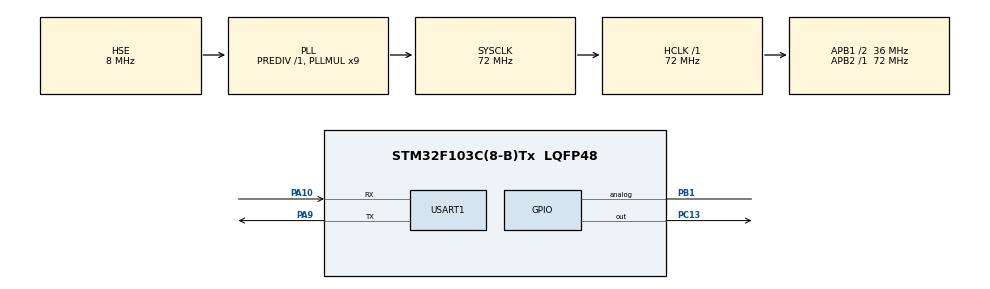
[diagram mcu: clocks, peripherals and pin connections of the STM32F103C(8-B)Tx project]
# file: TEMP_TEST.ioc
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Mcu.Family=STM32F1
Mcu.Name=STM32F103C(8-B)Tx
Mcu.Package=LQFP48
NVIC.PriorityGroup=NVIC_PRIORITYGROUP_4
PA10.Mode=Asynchronous
PA10.Signal=USART1_RX
PA13.Mode=Serial_Wire
PA13.Signal=SYS_JTMS-SWDIO
PA14.Mode=Serial_Wire
PA14.Signal=SYS_JTCK-SWCLK
PA9.Mode=Asynchronous
PA9.Signal=USART1_TX
PB1.Signal=GPIO_Analog
PC13-TAMPER-RTC.Signal=GPIO_Output
PD0-OSC_IN.Mode=HSE-External-Oscillator
PD0-OSC_IN.Signal=RCC_OSC_IN
PD1-OSC_OUT.Mode=HSE-External-Oscillator
PD1-OSC_OUT.Signal=RCC_OSC_OUT
ProjectManager.HeapSize=0x200
ProjectManager.StackSize=0x400
ProjectManager.TargetToolchain=STM32CubeIDE
RCC.AHBFreq_Value=72000000
RCC.APB1CLKDivider=RCC_HCLK_DIV2
RCC.APB1Freq_Value=36000000
RCC.APB1TimFreq_Value=72000000
RCC.APB2Freq_Value=72000000
RCC.APB2TimFreq_Value=72000000
RCC.HCLKFreq_Value=72000000
RCC.PLLMUL=RCC_PLL_MUL9
RCC.PLLSourceVirtual=RCC_PLLSOURCE_HSE
RCC.SYSCLKFreq_VALUE=72000000
RCC.SYSCLKSource=RCC_SYSCLKSOURCE_PLLCLK
RCC.USBFreq_Value=72000000
TIM2.Period=1000
TIM2.Prescaler=72-1
USART1.VirtualMode=VM_ASYNC
VP_TIM2_VS_ClockSourceINT.Mode=Internal
board=custom

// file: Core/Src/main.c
/* USER CODE BEGIN Header */
/**
 ******************************************************************************
 * @file           : main.c
 * @brief          : Main program body
 ******************************************************************************
 * @attention
 *
 * Copyright (c) 2022 STMicroelectronics.
 * All rights reserved.
 *
 * This software is licensed under terms that can be found in the LICENSE file
 * in the root directory of this software component.
 * If no LICENSE file comes with this software, it is provided AS-IS.
 *
 ******************************************************************************
 */
/* USER CODE END Header */
#include "main.h"

/* USER CODE BEGIN Includes */
#include "string.h"
#include "18B20.h"
/* USER CODE END Includes */

/* USER CODE BEGIN PTD */

extern uint8_t count;	// variable used in each function
extern uint8_t num; // number of one wire device on the bus (single GPIO pin)

/* USER CODE END PTD */

TIM_HandleTypeDef htim2;

UART_HandleTypeDef huart1;

/* USER CODE BEGIN PV */

//uint8_t device_number=0;
//int last_zero;
/* USER CODE END PV */

void SystemClock_Config(void);
static void MX_GPIO_Init(void);
static void MX_USART1_UART_Init(void);
static void MX_TIM2_Init(void);

int main(void) {

	/* MCU Configuration--------------------------------------------------------*/

	/* Reset of all peripherals, Initializes the Flash interface and the Systick. */
	HAL_Init();

	/* Configure the system clock */
	SystemClock_Config();

	/* Initialize all configured peripherals */
	MX_GPIO_Init();
	MX_USART1_UART_Init();
	MX_TIM2_Init();

	/* Infinite loop */
	/* USER CODE BEGIN WHILE */

	if (Temp_init() != 1) {// Initalizing the Temp sensor
		printf("Temp Sensor Initialization failed\n");
	}

	Find_Temp_devices();	// Find the number of Devices connected to the bus
	printf("Number of devices on bus = %d\n", count);
	num = count;		// count is variable

	for (int i = 1; i < num + 1; i++) {
		Set_Threshold(UPPER_TH, LOWER_TH, i);		// Set the upper and lower threshold for all the devices for alarm case
	}

	while (1) {

		for (int i = 1; i < num + 1; i++) {
			Read_Temp(i);		// Read temperature from each device with their respective index
			printf("\n\n");
		}

		HAL_Delay(1000);

		Check_Alarm();
		printf("Number of devices with alarm triggered= %d\n", count);
		printf("\n\n");
		/* USER CODE END WHILE */

	}
}

void SystemClock_Config(void) {
	RCC_OscInitTypeDef RCC_OscInitStruct = { 0 };
	RCC_ClkInitTypeDef RCC_ClkInitStruct = { 0 };

	/** Initializes the RCC Oscillators according to the specified parameters
	 * in the RCC_OscInitTypeDef structure.
	 */
	RCC_OscInitStruct.OscillatorType = RCC_OSCILLATORTYPE_HSE;
	RCC_OscInitStruct.HSEState = RCC_HSE_ON;
	RCC_OscInitStruct.HSEPredivValue = RCC_HSE_PREDIV_DIV1;
	RCC_OscInitStruct.HSIState = RCC_HSI_ON;
	RCC_OscInitStruct.PLL.PLLState = RCC_PLL_ON;
	RCC_OscInitStruct.PLL.PLLSource = RCC_PLLSOURCE_HSE;
	RCC_OscInitStruct.PLL.PLLMUL = RCC_PLL_MUL9;
	if (HAL_RCC_OscConfig(&RCC_OscInitStruct) != HAL_OK) {
		Error_Handler();
	}

	/** Initializes the CPU, AHB and APB buses clocks
	 */
	RCC_ClkInitStruct.ClockType = RCC_CLOCKTYPE_HCLK | RCC_CLOCKTYPE_SYSCLK
			| RCC_CLOCKTYPE_PCLK1 | RCC_CLOCKTYPE_PCLK2;
	RCC_ClkInitStruct.SYSCLKSource = RCC_SYSCLKSOURCE_PLLCLK;
	RCC_ClkInitStruct.AHBCLKDivider = RCC_SYSCLK_DIV1;
	RCC_ClkInitStruct.APB1CLKDivider = RCC_HCLK_DIV2;
	RCC_ClkInitStruct.APB2CLKDivider = RCC_HCLK_DIV1;

	if (HAL_RCC_ClockConfig(&RCC_ClkInitStruct, FLASH_LATENCY_2) != HAL_OK) {
		Error_Handler();
	}
}

static void MX_TIM2_Init(void) {

	TIM_ClockConfigTypeDef sClockSourceConfig = { 0 };
	TIM_MasterConfigTypeDef sMasterConfig = { 0 };

	htim2.Instance = TIM2;
	htim2.Init.Prescaler = 72 - 1;
	htim2.Init.CounterMode = TIM_COUNTERMODE_UP;
	htim2.Init.Period = 1000;
	htim2.Init.ClockDivision = TIM_CLOCKDIVISION_DIV1;
	htim2.Init.AutoReloadPreload = TIM_AUTORELOAD_PRELOAD_DISABLE;
	if (HAL_TIM_Base_Init(&htim2) != HAL_OK) {
		Error_Handler();
	}
	sClockSourceConfig.ClockSource = TIM_CLOCKSOURCE_INTERNAL;
	if (HAL_TIM_ConfigClockSource(&htim2, &sClockSourceConfig) != HAL_OK) {
		Error_Handler();
	}
	sMasterConfig.MasterOutputTrigger = TIM_TRGO_RESET;
	sMasterConfig.MasterSlaveMode = TIM_MASTERSLAVEMODE_DISABLE;
	if (HAL_TIMEx_MasterConfigSynchronization(&htim2, &sMasterConfig)
			!= HAL_OK) {
		Error_Handler();
	}

}

static void MX_USART1_UART_Init(void) {

	huart1.Instance = USART1;
	huart1.Init.BaudRate = 115200;
	huart1.Init.WordLength = UART_WORDLENGTH_8B;
	huart1.Init.StopBits = UART_STOPBITS_1;
	huart1.Init.Parity = UART_PARITY_NONE;
	huart1.Init.Mode = UART_MODE_TX_RX;
	huart1.Init.HwFlowCtl = UART_HWCONTROL_NONE;
	huart1.Init.OverSampling = UART_OVERSAMPLING_16;
	if (HAL_UART_Init(&huart1) != HAL_OK) {
		Error_Handler();
	}

}

static void MX_GPIO_Init(void) {
	GPIO_InitTypeDef GPIO_InitStruct = { 0 };

	/* GPIO Ports Clock Enable */
	__HAL_RCC_GPIOC_CLK_ENABLE();
	__HAL_RCC_GPIOD_CLK_ENABLE();
	__HAL_RCC_GPIOB_CLK_ENABLE();
	__HAL_RCC_GPIOA_CLK_ENABLE();

	/*Configure GPIO pin Output Level */
	HAL_GPIO_WritePin(GPIOC, GPIO_PIN_13, GPIO_PIN_RESET);

	/*Configure GPIO pin : PC13 */
	GPIO_InitStruct.Pin = GPIO_PIN_13;
	GPIO_InitStruct.Mode = GPIO_MODE_OUTPUT_PP;
	GPIO_InitStruct.Pull = GPIO_NOPULL;
	GPIO_InitStruct.Speed = GPIO_SPEED_FREQ_LOW;
	HAL_GPIO_Init(GPIOC, &GPIO_InitStruct);

	/*Configure GPIO pin : PB1 */
	GPIO_InitStruct.Pin = GPIO_PIN_1;
	GPIO_InitStruct.Mode = GPIO_MODE_ANALOG;
	HAL_GPIO_Init(GPIOB, &GPIO_InitStruct);

}

/* USER CODE BEGIN 4 */
#ifdef __GNUC__

int __io_putchar(int ch)
#else
int fputc(int ch, FILE *f)
#endif
{
	HAL_UART_Transmit(&huart1, (uint8_t*) &ch, 1, HAL_MAX_DELAY);
	return ch;
}

/* USER CODE END 4 */

void Error_Handler(void) {
	/* USER CODE BEGIN Error_Handler_Debug */
	/* User can add his own implementation to report the HAL error return state */
	printf("From the error handler\n");
	__disable_irq();
	while (1) {
	}
	/* USER CODE END Error_Handler_Debug */
}
